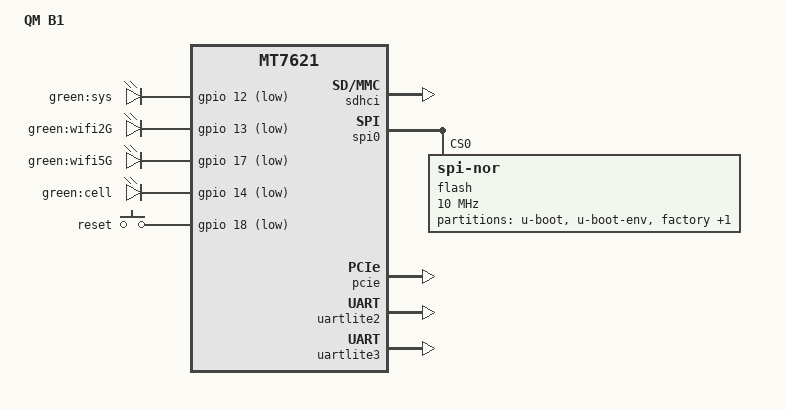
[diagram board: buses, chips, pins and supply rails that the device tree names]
#include "mt7621.dtsi"
#include <dt-bindings/gpio/gpio.h>
#include <dt-bindings/input/input.h>

/ {
    compatible = "qm,b1", "mediatek,mt7621-soc";
    model = "QM B1";
    
    aliases {
		led-boot = &led_sys;
		led-failsafe = &led_sys;
		label-mac-device = &gmac0;
	    };

    chosen {
        bootargs = "console=ttyS0,115200";
          };

    leds {
        compatible = "gpio-leds";

        led_sys: sys {
			label = "green:sys";
			gpios = <&gpio 12 GPIO_ACTIVE_LOW>;
		};
		
        wifi2g {
			label = "green:wifi2G";
			gpios = <&gpio 13 GPIO_ACTIVE_LOW>;
		};

	wifi5g {
			label = "green:wifi5G";
			gpios = <&gpio 17 GPIO_ACTIVE_LOW>;   
		};
		
	cell {
			label = "green:cell";
			gpios = <&gpio 14 GPIO_ACTIVE_LOW>;   
		};
	
        
    };

    keys {
		compatible = "gpio-keys";

		reset {
			label = "reset";
			gpios = <&gpio 18 GPIO_ACTIVE_LOW>;
			linux,code = <KEY_RESTART>;
        };
       
    };
  };


&sdhci {
	status = "okay";
};

&spi0 {
    status = "okay";

    flash@0 {
        compatible = "jedec,spi-nor";
        reg = <0>;
        spi-max-frequency = <10000000>;

        partitions {
            compatible = "fixed-partitions";
            #address-cells = <1>;
            #size-cells = <1>;

            partition@0 {
                label = "u-boot";
                reg = <0x0 0x30000>;
                read-only;
            };

            partition@30000 {
                label = "u-boot-env";
                reg = <0x30000 0x10000>;
                read-only;
            };

            factory: partition@40000 {
                label = "factory";
                reg = <0x40000 0x10000>;
                read-only;
            };

            partition@50000 {
                compatible = "denx,uimage";
                label = "firmware";
                reg = <0x50000 0xfb0000>;
            };
        };
    };
};

&pcie {
    status = "okay";
};

&pcie0 {
	mt76@0,0 {
		reg = <0x0000 0 0 0 0>;
		mtd-mac-address = <&factory 0xe000>;
		mtd-mac-address-increment = <2>;
		mediatek,mtd-eeprom = <&factory 0x8000>;
		ieee80211-freq-limit = <5000000 6000000>;
	};
};

&pcie1 {
	mt76@0,0 {
		reg = <0x0000 0 0 0 0>;
		mtd-mac-address = <&factory 0xe000>;
		mtd-mac-address-increment = <3>;
		mediatek,mtd-eeprom = <&factory 0x0000>;
		ieee80211-freq-limit = <2400000 2500000>;
	};
};

&gmac0 {
	mtd-mac-address = <&factory 0xe000>;
};


&switch0 {
	ports {
		port@0 {
			status = "okay";
			label = "wan";
			mtd-mac-address = <&factory 0xe000>;
			mtd-mac-address-increment = <1>;
		       };
		port@1 {
			status = "okay";
			label = "lan";
		      };
	};
};

&uartlite2 {
	status = "okay";
};

&uartlite3 {
	status = "okay";
};

&state_default {
	gpio {
		groups = "i2c", "wdt";
		function = "gpio";
	};
};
